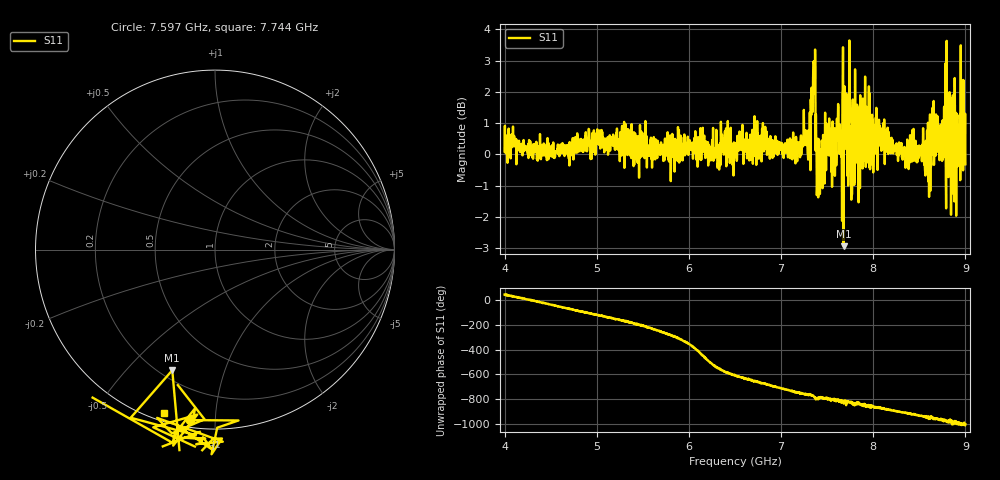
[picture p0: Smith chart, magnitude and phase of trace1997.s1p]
! Created with skrf 1.8.0 (http://scikit-rf.org).
# Hz S RI R 50.0
!freq ReS11 ImS11
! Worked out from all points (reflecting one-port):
!   1601 points, 4 GHz to 9 GHz, reference 50 ohm
!   lowest |S11| = -2.9 dB at 7.678 GHz (marker M1), VSWR 5.97, Z = 12.4 - j33.9 ohm
!   phase of S11 starts at 47 deg and turns -1051 deg over the sweep
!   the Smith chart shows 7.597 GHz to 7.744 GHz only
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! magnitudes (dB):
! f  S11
! 4 GHz  0.1
! 4.625 GHz  0.0
! 5.25 GHz  -0.2
! 5.875 GHz  0.2
! 6.5 GHz  0.3
! 6.722 GHz  0.4
! 7.125 GHz  0.2
! 7.294 GHz  -0.2
! 7.347 GHz  2.4
! 7.372 GHz  2.7
! 7.4 GHz  -0.5
! 7.412 GHz  -0.7
! 7.5 GHz  0.5
! 7.578 GHz  0.4
! 7.678 GHz  -2.9
! 7.716 GHz  0.4
! 7.75 GHz  -0.5
! 7.775 GHz  1.4
! 7.8 GHz  -0.9
! 7.928 GHz  1.5
! 7.981 GHz  0.6
! 8.375 GHz  -0.1
! 8.584 GHz  0.8
! 8.809 GHz  0.9
! 8.856 GHz  -0.5
! 8.919 GHz  -0.2
! 8.972 GHz  0.7
! 9 GHz  -0.3
